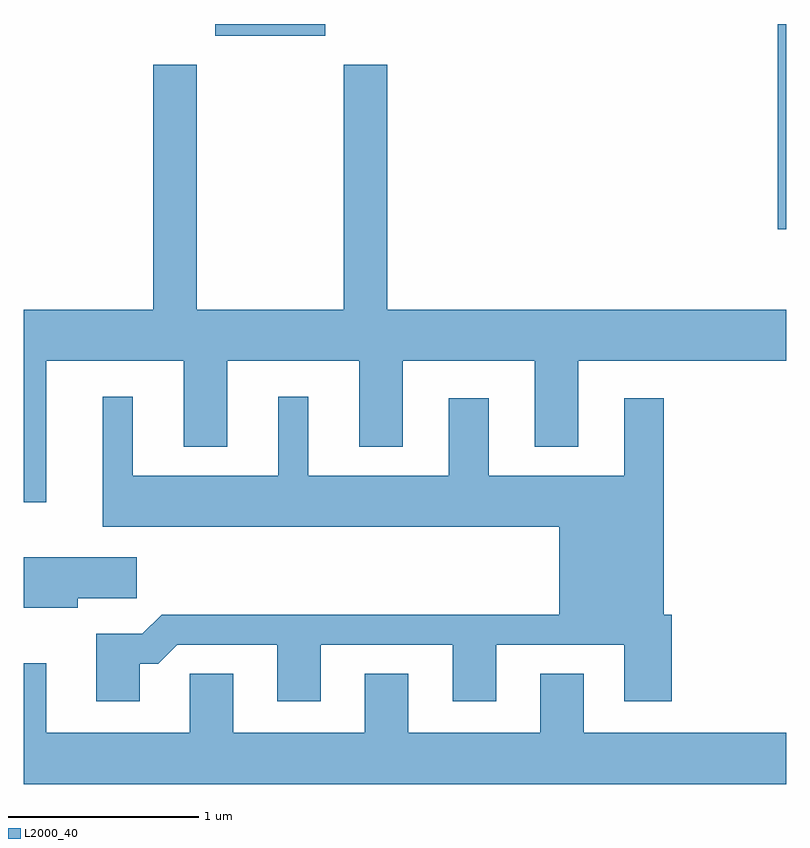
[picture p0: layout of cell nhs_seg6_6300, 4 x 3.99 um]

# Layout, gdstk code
import gdstk
lib = gdstk.Library(unit=1e-6, precision=1e-09)
def R(c, l, rs):  # rectangles x0, y0, x1, y1
    for r in rs: c.add(gdstk.rectangle(r[:2], r[2:], *l))
def P(c, l, *ps):  # polygons
    for p in ps: c.add(gdstk.Polygon(p, *l))
L2000_40 = (2000, 40)

nhs_seg6_6300 = lib.new_cell('nhs_seg6_6300')
R(nhs_seg6_6300, L2000_40, [(379.566,1635.086,379.611,1636.162), (376.616,1636.101,377.194,1636.162)])
P(nhs_seg6_6300, L2000_40, [(375.729,1634.396),(376.451,1634.396),(376.451,1633.946),(376.679,1633.946),(376.679,1634.396),(377.371,1634.396),(377.371,1633.946),(377.599,1633.946),(377.599,1634.396),(378.291,1634.396),(378.291,1633.946),(378.519,1633.946),(378.519,1634.396),(379.611,1634.396),(379.611,1634.664),(377.519,1634.664),(377.519,1635.949),(377.291,1635.949),(377.291,1634.664),(376.519,1634.664),(376.519,1635.949),(376.291,1635.949),(376.291,1634.664),(375.611,1634.664),(375.611,1633.653),(375.729,1633.653)],
  [(376.219,1632.806),(376.317,1632.806),(376.417,1632.906),(376.941,1632.906),(376.941,1632.611),(377.169,1632.611),(377.169,1632.906),(377.861,1632.906),(377.861,1632.611),(378.089,1632.611),(378.089,1632.906),(378.761,1632.906),(378.761,1632.611),(379.009,1632.611),(379.009,1633.064),(378.969,1633.064),(378.969,1634.199),(378.761,1634.199),(378.761,1633.794),(378.049,1633.794),(378.049,1634.199),(377.841,1634.199),(377.841,1633.794),(377.104,1633.794),(377.104,1634.208),(376.946,1634.208),(376.946,1633.794),(376.184,1633.794),(376.184,1634.208),(376.026,1634.208),(376.026,1633.526),(378.421,1633.526),(378.421,1633.064),(376.334,1633.064),(376.234,1632.964),(375.991,1632.964),(375.991,1632.611),(376.219,1632.611)],
  [(375.894,1633.151),(376.204,1633.151),(376.204,1633.364),(375.611,1633.364),(375.611,1633.101),(375.894,1633.101)],
  [(379.611,1632.444),(378.549,1632.444),(378.549,1632.754),(378.321,1632.754),(378.321,1632.444),(377.629,1632.444),(377.629,1632.754),(377.401,1632.754),(377.401,1632.444),(376.709,1632.444),(376.709,1632.754),(376.481,1632.754),(376.481,1632.444),(375.729,1632.444),(375.729,1632.808),(375.611,1632.808),(375.611,1632.176),(379.611,1632.176)])

lib.write_gds('nhs_seg6_6300.gds')
